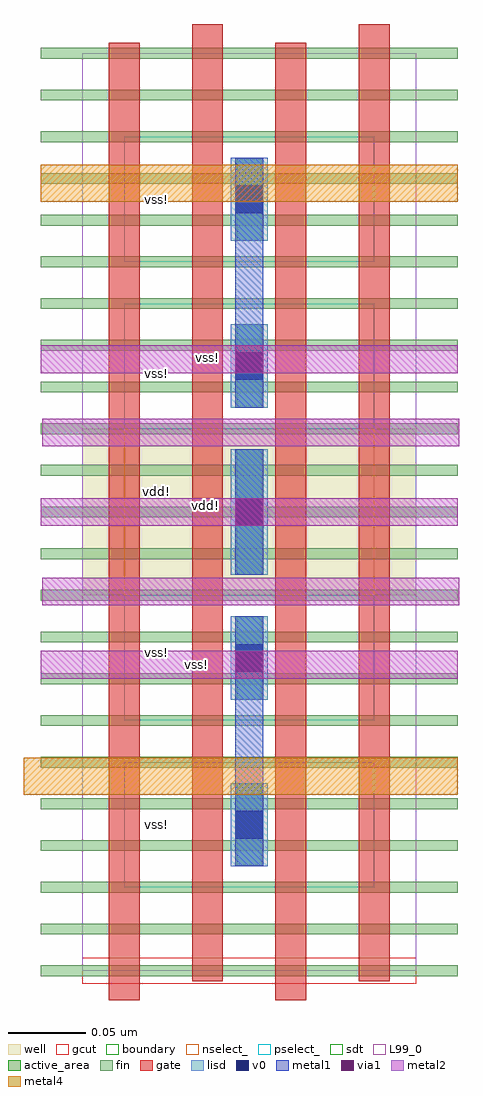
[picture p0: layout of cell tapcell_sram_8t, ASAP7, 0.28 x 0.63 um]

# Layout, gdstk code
import gdstk
lib = gdstk.Library(unit=1e-6, precision=2.5e-10)
def R(c, l, rs):  # rectangles x0, y0, x1, y1
    for r in rs: c.add(gdstk.rectangle(r[:2], r[2:], *l))
def A(c, l, x, y, w, h, nx, ny, dx, dy):  # array of equal rectangles
    R(c, l, [(x+i*dx, y+j*dy, x+i*dx+w, y+j*dy+h) for i in range(nx) for j in range(ny)])
well = (1, 0)
fin = (2, 0)
gate = (7, 0)
gcut = (10, 0)
active_area = (11, 0)
nselect_ = (12, 0)
pselect_ = (13, 0)
lisd = (17, 0)
v0 = (18, 0)
metal1 = (19, 0)
metal2 = (20, 0)
via1 = (21, 0)
metal4 = (40, 0)
sdt = (88, 0)
L99_0 = (99, 0)
boundary = (100, 0)

tapcell_sram_8t = lib.new_cell('tapcell_sram_8t')
R(tapcell_sram_8t, well, [(0,0.081,0.216,0.189)])
A(tapcell_sram_8t, fin, -0.027, -0.1655, 0.27, 0.007, 1, 23, 0, 0.027)
R(tapcell_sram_8t, gate, [(0.017,-0.181,0.037,0.439), (0.125,-0.181,0.145,0.439), (0.071,-0.169,0.091,0.451), (0.179,-0.169,0.199,0.451)])
R(tapcell_sram_8t, gcut, [(0,-0.1705,0.216,-0.1535)])
R(tapcell_sram_8t, active_area, [(0.1,-0.0945,0.116,-0.0405), (0.1,0.0135,0.116,0.0675), (0.1,0.0945,0.116,0.1755), (0.1,0.2025,0.116,0.2565), (0.1,0.3105,0.116,0.3645)])
R(tapcell_sram_8t, nselect_, [(0.027,0.081,0.189,0.189)])
R(tapcell_sram_8t, pselect_, [(0.027,-0.108,0.189,-0.027), (0.027,0,0.189,0.081), (0.027,0.189,0.189,0.27), (0.027,0.297,0.189,0.378)])
R(tapcell_sram_8t, lisd, [(0.096,-0.0945,0.12,-0.0405), (0.096,0.0135,0.12,0.0675), (0.096,0.0945,0.12,0.1755), (0.096,0.2025,0.12,0.2565), (0.096,0.3105,0.12,0.3645)])
A(tapcell_sram_8t, v0, 0.099, 0.0315, 0.018, 0.018, 1, 3, 0, 0.0945)
R(tapcell_sram_8t, v0, [(0.099,-0.0765,0.117,-0.0585), (0.099,0.3285,0.117,0.3465)])
R(tapcell_sram_8t, metal1, [(0.099,-0.0945,0.117,0.0675), (0.099,0.0945,0.117,0.1755), (0.099,0.2025,0.117,0.3645)])
A(tapcell_sram_8t, metal2, -0.027, 0.027, 0.27, 0.018, 1, 3, 0, 0.099)
R(tapcell_sram_8t, metal2, [(-0.026,0.0745,0.244,0.0925), (-0.026,0.1775,0.244,0.1955)])
A(tapcell_sram_8t, via1, 0.099, 0.027, 0.018, 0.018, 1, 3, 0, 0.099)
R(tapcell_sram_8t, metal4, [(-0.038,-0.048,0.243,-0.024), (-0.027,0.336,0.243,0.36)])
R(tapcell_sram_8t, sdt, [(0.096,-0.0945,0.12,-0.0405), (0.096,0.0135,0.12,0.0675), (0.096,0.0945,0.12,0.1755), (0.096,0.2025,0.12,0.2565), (0.096,0.3105,0.12,0.3645)])
R(tapcell_sram_8t, L99_0, [(0,-0.162,0.216,0.432)])
R(tapcell_sram_8t, boundary, [(0,-0.162,0.216,0.432)])
tapcell_sram_8t.add(gdstk.Label('vss!', (0.081,0.235), layer=20, texttype=251))
tapcell_sram_8t.add(gdstk.Label('vss!', (0.074,0.036), layer=20, texttype=251))
tapcell_sram_8t.add(gdstk.Label('vdd!', (0.0795,0.1395), layer=20, texttype=251))
tapcell_sram_8t.add(gdstk.Label('vdd!', (0.048,0.148), layer=1, texttype=251))
tapcell_sram_8t.add(gdstk.Label('vss!', (0.048,0.2245), layer=3, texttype=251))
tapcell_sram_8t.add(gdstk.Label('vss!', (0.048,0.044), layer=3, texttype=251))
tapcell_sram_8t.add(gdstk.Label('vss!', (0.048,-0.0675), layer=3, texttype=251))
tapcell_sram_8t.add(gdstk.Label('vss!', (0.048,0.3375), layer=3, texttype=251))

lib.write_gds('tapcell_sram_8t.gds')
